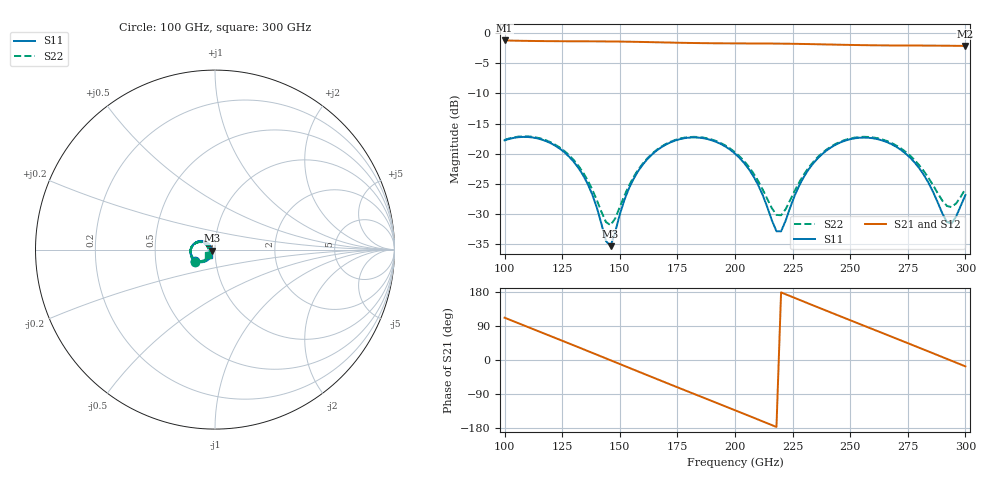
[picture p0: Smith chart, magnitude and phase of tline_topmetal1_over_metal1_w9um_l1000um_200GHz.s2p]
#  GHZ S DB R 50
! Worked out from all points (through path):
!   101 points, 100 GHz to 300 GHz, reference 50 ohm
!   highest |S21| = -1.23 dB at 100 GHz (marker M1); lowest = -2.1 dB at 300 GHz (marker M2)
!   group delay of S21, straight-line fit = 6.79 ps
!   lowest |S11| = -35.3 dB at 146 GHz (marker M3), VSWR 1.03, Z = 48.4 - j0.503 ohm
!   |S11| at or under -10 dB: start of sweep to end of sweep
!   |S22| runs from -31.8 to -17.1 dB; largest |S21 - S12| = 9.6e-14
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100  -17.79 -150.7  -1.23 111.6  -1.23 111.6  -17.71 -149.3
116  -17.64 173.9  -1.33 72.7  -1.33 72.7  -17.52 176.9
126  -19.79 153.1  -1.36 48.4  -1.36 48.4  -19.57 157.7
134  -23.53 139.7  -1.37 28.8  -1.37 28.8  -23.08 146.8
140  -28.90 139.0  -1.38 14.1  -1.38 14.1  -27.66 149.8
144  -34.48 164.7  -1.39 4.2  -1.39 4.2  -31.33 172.4
146  -35.33 -162.3  -1.40 -0.7  -1.40 -0.7  -31.85 -166.6
156  -24.16 -122.1  -1.45 -25.4  -1.45 -25.4  -23.84 -127.9
168  -18.94 -142.4  -1.55 -54.9  -1.55 -54.9  -18.83 -144.0
184  -17.33 -175.6  -1.66 -93.8  -1.66 -93.8  -17.23 -174.8
200  -19.98 152.8  -1.72 -132.6  -1.72 -132.6  -19.76 156.3
210  -25.15 141.0  -1.73 -157.0  -1.73 -157.0  -24.49 148.0
218  -32.85 174.5  -1.75 -176.7  -1.75 -176.7  -30.14 177.8
220  -32.87 -160.7  -1.76 178.4  -1.76 178.4  -30.21 -165.2
228  -25.18 -126.8  -1.80 158.7  -1.80 158.7  -24.64 -133.6
234  -21.58 -132.0  -1.85 143.9  -1.85 143.9  -21.34 -136.2
252  -17.45 -165.0  -1.99 100.1  -1.99 100.1  -17.33 -165.4
268  -18.43 163.8  -2.06 61.4  -2.06 61.4  -18.24 165.8
280  -22.42 145.4  -2.08 32.3  -2.08 32.3  -21.92 150.4
292  -31.34 173.2  -2.10 2.9  -2.10 2.9  -28.67 175.6
294  -31.56 -167.0  -2.11 -2.1  -2.11 -2.1  -28.84 -171.1
300  -26.85 -134.0  -2.14 -16.8  -2.14 -16.8  -25.83 -143.7
